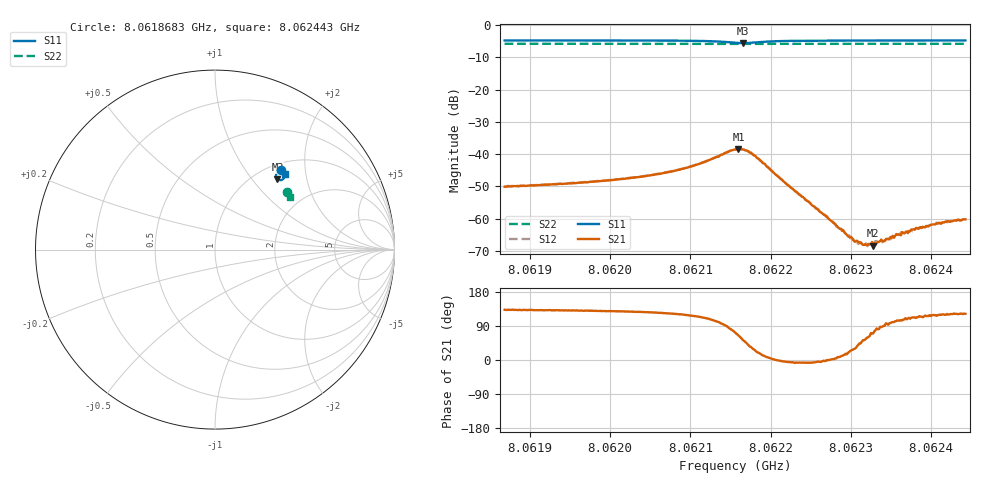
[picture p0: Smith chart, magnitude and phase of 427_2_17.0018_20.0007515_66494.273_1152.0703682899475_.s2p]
#  HZ  S  RI  R  50.00
! Rohde & Schwarz Vector Network Analyzer
! Rohde-Schwarz,ZNB20-2Port,1311601062101988,3.16
! Created: UTC 3/20/2024, 11:11:12 PM
! freq[Hz]  re:S11  im:S11  re:S21  im:S21  re:S12  im:S12  re:S22  im:S22
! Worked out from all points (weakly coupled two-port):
!   401 points, 8.0618683 GHz to 8.062443 GHz, reference 50 ohm
!   highest |S21| = -38.40 dB at 8.0621599 GHz (marker M1); lowest = -68.4 dB at 8.062328 GHz (marker M2)
!   lowest |S11| = -5.6 dB at 8.0621657 GHz (marker M3), VSWR 3.21, Z = 62.6 + j67.8 ohm
!   |S11| at or under -10 dB: nowhere
!   |S22| runs from -5.9 to -5.8 dB; largest |S21 - S12| = 0.00077
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8.06186831e9  0.3688 0.4428  -0.00211 0.0023  -0.00203 0.00243  0.4 0.3193
8.06196457e9  0.3755 0.4365  -0.00236 0.00274  -0.0022 0.00292  0.4036 0.3147
8.06201054e9  0.3791 0.4327  -0.00254 0.00317  -0.00235 0.00335  0.4053 0.3122
8.06206082e9  0.3836 0.4266  -0.00279 0.00405  -0.00259 0.00429  0.4072 0.3095
8.06210823e9  0.3878 0.4148  -0.0029 0.00621  -0.00255 0.00644  0.4088 0.3067
8.06215563e9  0.3646 0.3869  0.00352 0.0113  0.0042 0.011  0.4091 0.3034
8.06215994e9  0.3573 0.3877  0.00511 0.0109  0.00579 0.0106  0.4089 0.3034
8.06216569e9  0.3481 0.3926  0.00719 0.00931  0.0077 0.00906  0.4088 0.3036
8.06217575e9  0.3397 0.408  0.0086 0.0058  0.00912 0.00525  0.4089 0.3039
8.06218293e9  0.3406 0.4186  0.00815 0.00315  0.00846 0.00278  0.4094 0.3039
8.06225189e9  0.3721 0.4346  0.00159 -0.000202  0.00162 -0.000285  0.4133 0.301
8.06229642e9  0.3796 0.4314  0.000507 0.000171  0.000523 0.000147  0.4151 0.2986
8.06231079e9  0.3812 0.4304  0.000307 0.000293  0.000315 0.000273  0.4156 0.2978
8.06231797e9  0.3819 0.4299  0.000238 0.000325  0.000253 0.000318  0.4159 0.2974
8.06232802e9  0.383 0.4292  0.000128 0.000358  0.000102 0.000408  0.4163 0.2969
8.06233377e9  0.3837 0.4288  6.73e-05 0.000428  0.000121 0.000457  0.4165 0.2965
8.06234095e9  0.3842 0.4282  6.21e-07 0.000445  3.39e-05 0.000446  0.4166 0.2963
8.06234814e9  0.3849 0.4278  -6.12e-05 0.000478  -2.79e-05 0.000502  0.417 0.296
8.0623625e9  0.3862 0.427  -0.000145 0.000532  -0.00013 0.000596  0.4174 0.2951
8.06238836e9  0.3883 0.4254  -0.000293 0.00065  -0.000236 0.00069  0.4183 0.2936
8.06241853e9  0.3905 0.4236  -0.00044 0.000783  -0.000401 0.00082  0.4193 0.2922
8.06244295e9  0.3922 0.4223  -0.000517 0.000827  -0.000463 0.00087  0.4203 0.2909
